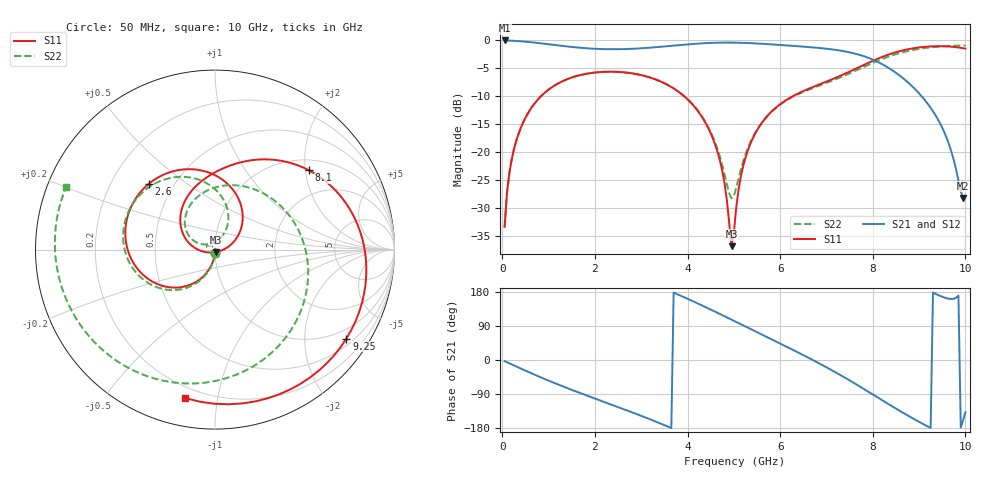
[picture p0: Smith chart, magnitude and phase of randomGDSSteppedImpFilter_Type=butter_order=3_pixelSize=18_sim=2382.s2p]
! freq	dB(S11)	phase(S11)	dB(S12)	phase(S12)
!  dB(S21)	phase(S21)	dB(S22)	phase(S22)
!S-par simulation data
#  GHz  S  DB  R 50
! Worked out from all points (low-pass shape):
!   200 points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, 50 MHz to 10 GHz, reference 50 ohm
!   highest |S21| = -0.01 dB at 50 MHz (marker M1); lowest = -28.1 dB at 9.95 GHz (marker M2)
!   |S21| within 3 dB of the highest: start of sweep to 7.87 GHz
!   lowest |S11| = -36.8 dB at 4.95 GHz (marker M3), VSWR 1.03, Z = 50.5 - j1.37 ohm
!   |S11| at or under -10 dB: start of sweep to 832.6 MHz; 3.931 GHz to 6.266 GHz (2.335 GHz wide, 45.8 % of centre)
!   |S22| runs from -33.3 to -0.9 dB; largest |S21 - S12| = 0
!   S11 on the Smith chart (normalised r, x): 50 MHz: 1.00, -0.04; 2.6 GHz: 0.36, +0.36; 8.1 GHz: 1.26, +2.09; 9.25 GHz: 0.69, -3.12; 10 GHz: 0.14, -0.81
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0.05  -33.32 -93.1  -0.01 -2.9  -0.01 -2.9  -33.32 -92.9
0.2  -21.38 -102.4  -0.05 -11.4  -0.05 -11.4  -21.38 -101.5
0.5  -13.82 -119.7  -0.22 -28.1  -0.22 -28.1  -13.82 -117.7
1.1  -8.21 -152.3  -0.79 -59.5  -0.79 -59.5  -8.19 -147.8
1.75  -6.07 175.4  -1.36 -90.4  -1.36 -90.4  -6.06 -177.3
2.6  -5.68 135.2  -1.56 -128.8  -1.56 -128.8  -5.67 146.5
3.4  -7.27 95.3  -1.15 -166.8  -1.15 -166.8  -7.25 111.3
4.5  -16.58 30.7  -0.44 133.2  -0.44 133.2  -16.37 62.8
4.75  -23.31 9.7  -0.39 118.5  -0.39 118.5  -22.28 63.7
4.95  -36.76 -68.7  -0.39 106.5  -0.39 106.5  -28.20 107.2
5.05  -29.99 -149.3  -0.40 100.6  -0.40 100.6  -26.39 141.2
5.25  -20.98 -178.2  -0.45 88.6  -0.45 88.6  -20.40 159.0
5.55  -15.39 160.8  -0.57 70.6  -0.57 70.6  -15.30 150.8
6.15  -10.56 128.0  -0.90 34.4  -0.90 34.4  -10.65 115.2
6.7  -8.34 102.8  -1.24 0.3  -1.24 0.3  -8.53 73.4
7.55  -5.38 67.7  -2.22 -57.5  -2.22 -57.5  -5.70 -6.7
8.1  -3.29 40.2  -3.81 -98.4  -3.81 -98.4  -3.65 -61.5
8.35  -2.50 25.6  -4.95 -117.2  -4.95 -117.2  -2.86 -85.0
8.75  -1.59 0.4  -7.43 -146.2  -7.43 -146.2  -1.91 -119.3
9.25  -1.07 -34.1  -12.04 -179.2  -12.04 -179.2  -1.23 -156.4
9.95  -1.40 -95.7  -28.14 -159.2  -28.14 -159.2  -0.92 160.1
10  -1.48 -101.4  -27.77 -137.6  -27.77 -137.6  -0.92 157.3
